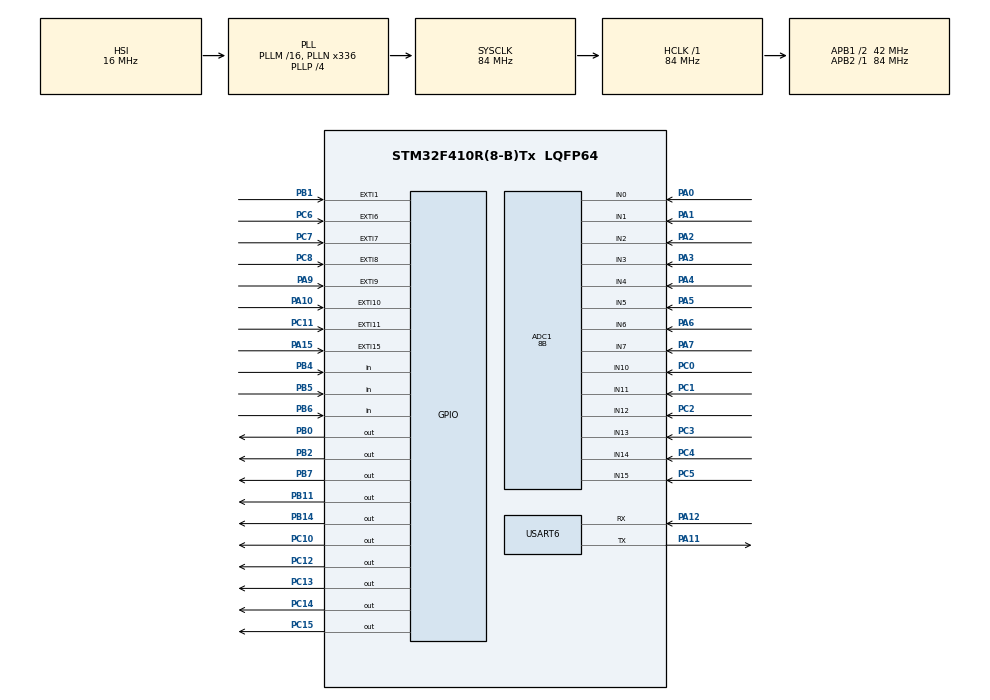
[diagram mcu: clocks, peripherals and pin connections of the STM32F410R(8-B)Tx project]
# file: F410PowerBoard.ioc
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ADC1.Channel-0\#ChannelRegularConversion=ADC_CHANNEL_0
ADC1.ContinuousConvMode=ENABLE
ADC1.NbrOfConversionFlag=1
ADC1.Rank-0\#ChannelRegularConversion=1
ADC1.Resolution=ADC_RESOLUTION_8B
ADC1.SamplingTime-0\#ChannelRegularConversion=ADC_SAMPLETIME_3CYCLES
ADC1.master=1
Mcu.Family=STM32F4
Mcu.Name=STM32F410R(8-B)Tx
Mcu.Package=LQFP64
NVIC.EXTI15_10_IRQn=true\:0\:0\:false\:false\:true\:true\:true\:true
NVIC.EXTI1_IRQn=true\:0\:0\:false\:false\:true\:true\:true\:true
NVIC.EXTI9_5_IRQn=true\:0\:0\:false\:false\:true\:true\:true\:true
NVIC.PriorityGroup=NVIC_PRIORITYGROUP_0
NVIC.USART6_IRQn=true\:0\:0\:false\:false\:true\:true\:true\:true
PA0-WKUP.Signal=ADCx_IN0
PA1.Signal=ADCx_IN1
PA10.GPIO_ModeDefaultEXTI=GPIO_MODE_IT_RISING_FALLING
PA10.Signal=GPXTI10
PA11.Mode=Asynchronous
PA11.Signal=USART6_TX
PA12.Mode=Asynchronous
PA12.Signal=USART6_RX
PA15.GPIO_ModeDefaultEXTI=GPIO_MODE_IT_RISING_FALLING
PA15.Signal=GPXTI15
PA2.Signal=ADCx_IN2
PA3.Signal=ADCx_IN3
PA4.Signal=ADCx_IN4
PA5.Signal=ADCx_IN5
PA6.Signal=ADCx_IN6
PA7.Signal=ADCx_IN7
PA9.GPIO_ModeDefaultEXTI=GPIO_MODE_IT_RISING_FALLING
PA9.Signal=GPXTI9
PB0.Signal=GPIO_Output
PB1.GPIO_ModeDefaultEXTI=GPIO_MODE_IT_RISING_FALLING
PB1.Signal=GPXTI1
PB11.Signal=GPIO_Output
PB14.Signal=GPIO_Output
PB2.Signal=GPIO_Output
PB3.GPIO_Label=SWO
PB3.Signal=SYS_JTDO-SWO
PB4.Signal=GPIO_Input
PB5.Signal=GPIO_Input
PB6.Signal=GPIO_Input
PB7.Signal=GPIO_Output
PC0.Signal=ADCx_IN10
PC1.Signal=ADCx_IN11
PC10.Signal=GPIO_Output
PC11.Signal=GPXTI11
PC12.Signal=GPIO_Output
PC13-ANTI_TAMP.Signal=GPIO_Output
PC14-OSC32_IN.Signal=GPIO_Output
PC15-OSC32_OUT.Signal=GPIO_Output
PC2.Signal=ADCx_IN12
PC3.Signal=ADCx_IN13
PC4.Signal=ADCx_IN14
PC5.Signal=ADCx_IN15
PC6.GPIO_ModeDefaultEXTI=GPIO_MODE_IT_RISING_FALLING
PC6.Signal=GPXTI6
PC7.GPIO_ModeDefaultEXTI=GPIO_MODE_IT_RISING_FALLING
PC7.Signal=GPXTI7
PC8.GPIO_ModeDefaultEXTI=GPIO_MODE_IT_RISING_FALLING
PC8.Signal=GPXTI8
PH0\ -\ OSC_IN.Mode=HSE-External-Clock-Source
PH0\ -\ OSC_IN.Signal=RCC_OSC_IN
PH1\ -\ OSC_OUT.Mode=HSE-External-Clock-Source
PH1\ -\ OSC_OUT.Signal=RCC_OSC_OUT
ProjectManager.HeapSize=0x200
ProjectManager.StackSize=0x400
ProjectManager.TargetToolchain=STM32CubeIDE
RCC.48MHZClocksFreq_Value=84000000
RCC.AHBFreq_Value=84000000
RCC.APB1CLKDivider=RCC_HCLK_DIV2
RCC.APB1Freq_Value=42000000
RCC.APB1TimFreq_Value=84000000
RCC.APB2Freq_Value=84000000
RCC.APB2TimFreq_Value=84000000
RCC.CortexFreq_Value=84000000
RCC.FLatency-AdvancedSettings=FLASH_LATENCY_2
RCC.HCLKFreq_Value=84000000
RCC.HSE_VALUE=8000000
RCC.HSI_VALUE=16000000
RCC.LSE_VALUE=32768
RCC.PLLN=336
RCC.PLLP=RCC_PLLP_DIV4
RCC.SYSCLKFreq_VALUE=84000000
RCC.SYSCLKSource=RCC_SYSCLKSOURCE_PLLCLK
RCC.VCOOutputFreq_Value=336000000
SH.ADCx_IN0.0=ADC1_IN0,IN0
SH.ADCx_IN1.0=ADC1_IN1,IN1
SH.ADCx_IN10.0=ADC1_IN10,IN10
SH.ADCx_IN11.0=ADC1_IN11,IN11
SH.ADCx_IN12.0=ADC1_IN12,IN12
SH.ADCx_IN13.0=ADC1_IN13,IN13
SH.ADCx_IN14.0=ADC1_IN14,IN14
SH.ADCx_IN15.0=ADC1_IN15,IN15
SH.ADCx_IN2.0=ADC1_IN2,IN2
SH.ADCx_IN3.0=ADC1_IN3,IN3
SH.ADCx_IN4.0=ADC1_IN4,IN4
SH.ADCx_IN5.0=ADC1_IN5,IN5
SH.ADCx_IN6.0=ADC1_IN6,IN6
SH.ADCx_IN7.0=ADC1_IN7,IN7
USART6.VirtualMode=VM_ASYNC
board=NUCLEO-F410RB

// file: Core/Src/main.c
/* USER CODE BEGIN Header */
/**
  ******************************************************************************
  * @file           : main.c
  * @brief          : Main program body
  ******************************************************************************
  * @attention
  *
  * Copyright (c) 2024 STMicroelectronics.
  * All rights reserved.
  *
  * This software is licensed under terms that can be found in the LICENSE file
  * in the root directory of this software component.
  * If no LICENSE file comes with this software, it is provided AS-IS.
  *
  ******************************************************************************
  */
/* USER CODE END Header */
#include "main.h"

/* USER CODE BEGIN Includes */
#include <string.h>
#include "powerboard_instr.h"
#include "pin_lib.h"
/* USER CODE END Includes */

/* USER CODE BEGIN PTD */
typedef uint8_t bool;

/* USER CODE END PTD */

ADC_HandleTypeDef hadc1;

UART_HandleTypeDef huart6;

/* USER CODE BEGIN PV */
//rx buffer variables
uint8_t rx_byte_buffer;
uint8_t circle_rx_buffer[RX_CIRCULAR_BUFFER_SIZE];
int head_rx = 0;
int tail_rx = 0;
int messages_in_rx = 0;

//tx buffer variables
uint16_t tx_word_buffer;
uint16_t circle_tx_bufferHigh[TX_CIRCULAR_BUFFER_SIZE];
uint16_t circle_tx_bufferLow[TX_CIRCULAR_BUFFER_SIZE];
int head_txH = 0;
int tail_txH = 0;
int head_txL = 0;
int tail_txL = 0;
int messages_in_txH = 0;
int messages_in_txL = 0;

/* USER CODE END PV */

void SystemClock_Config(void);
static void MX_GPIO_Init(void);
static void MX_USART6_UART_Init(void);
static void MX_ADC1_Init(void);
/* USER CODE BEGIN PFP */
void UART_TransmitData(uint16_t);
void UART_Print(uint8_t*);

int write_tx_buffer(uint16_t, int*, int, int);
int write_rx_buffer(uint8_t, int*, int);
int read_tx_buffer(uint16_t*, int, int*,int);
int read_rx_buffer(uint8_t*, int, int*);
void parse_rx(uint8_t);

/* USER CODE END PFP */

/* USER CODE BEGIN 0 */

/*UART Transmission functions----------------------------------
 * Param: uint16_t tx_buffer
 * Returns: void
 * Splits a 16 bit int into 2 bytes and transmits using HAL function
 *Uses blocking polling method which may need to change. Interrupt method was losing
 *the second byte of data
 * */

void UART_TransmitData(uint16_t tx_buffer){
	//char message[] = "hello world\r\n\0";
	uint8_t message[2];
	message[1] = (uint8_t) tx_buffer;
	message[0] = (uint8_t) (tx_buffer >> 8);
	HAL_UART_Transmit(&huart6, (uint8_t*)message, 2, 200);
}

/*Placeholder to verify receipt via UART.
 * Transmits 1 byte at a time
 * */
void UART_Print(uint8_t* message) {
	HAL_UART_Transmit(&huart6, (uint8_t*) message, 1, 100);
}
//------------------------------------------------------------

/*Read/Write buffer functions-----------------------------------------------
* Param: 8 bit binary val
* Returns 0 if buffer full, 1 if write successful
Writes received 8bit binary into circular buffer
Updates global circle buffer at [head] and increments head

*/
int write_tx_buffer(uint16_t val, int* head, int tail, int mode) {

	if ((*head + 1) % TX_CIRCULAR_BUFFER_SIZE == tail) {
		return 0;
	}

	if (mode == TXH_MODE){
		circle_tx_bufferHigh[*head] = val;
		messages_in_txH++;
	}else if (mode == TXL_MODE){
		circle_tx_bufferLow[*head] = val;
		messages_in_txL++;
	}else{
		//invalid buffer mode, make error handler
	}
	*head = (*head + 1) % TX_CIRCULAR_BUFFER_SIZE;
	return 1;
}

//Same method as write_tx_buffer but to different buffer
int write_rx_buffer(uint8_t val, int* head, int tail) {

	if ((*head + 1) % RX_CIRCULAR_BUFFER_SIZE == tail) {
		return 0;
	}

	circle_rx_buffer[*head] = val;
	messages_in_rx++;

	*head = (*head + 1) % RX_CIRCULAR_BUFFER_SIZE;
	return 1;
}
/* Reads from circle buffer,then clears at tail
 * Param: pointer to 8 bit val
 * Returns: 0 if buffer empty, 1 if read successful
 * Increments tail
 */
int read_tx_buffer(uint16_t* val, int head, int* tail, int mode) {
	if (*tail == head) {
		return 0;
	}
	if (mode == TXH_MODE){
		*val = circle_tx_bufferHigh[*tail];
	}else if (mode == TXL_MODE){
		*val = circle_tx_bufferLow[*tail];
	}else{
		//invalid buffer mode, make error handler
	}
	*tail = (*tail + 1) % TX_CIRCULAR_BUFFER_SIZE;
	return 1;
}

//Same as read_tx_buffer
int read_rx_buffer(uint8_t* val, int head, int* tail) {
	if (*tail == head) {
		return 0;
	}

	*val = circle_rx_buffer[*tail];

	*tail = (*tail + 1) % RX_CIRCULAR_BUFFER_SIZE;
	return 1;
}

//-----------------------------------------------------------------
/*Analyze rx input
 * Param: uint8_t received byte
 * Returns: void
 * Takes rx byte and maps to instruction from powerboard_inst.h
 * Performs said instruction for GPIO Write, Analog and GPIO read
 * */
void parse_rx(uint8_t current_data){
	//gpio outputs
	if (current_data == E_PARALLEL_0)
		e_parallel_off();
	else if (current_data == E_PARALLEL_1)
		e_parallel_on();
	else if (current_data == MICROPOWER_0)
		micropower_off();
	else if (current_data == MICROPOWER_1)
		micropower_on();
	else if (current_data == E_VBATT_0)
		e_vbatt_off();
	else if (current_data == E_VBATT_1)
		e_vbatt_on();
	else if (current_data == E_5V_0)
		e_5v_off();
	else if (current_data == E_5V_1)
		e_5v_on();
	else if (current_data == E_12V_0)
		e_12v_off();
	else if (current_data == E_12V_1)
		e_12v_on();
	else if (current_data == E_16V_0)
		e_16v_off();
	else if (current_data == E_16V_1)
		e_16v_on();
	else if (current_data == RED_0)
		led_red_on();
	else if (current_data == RED_1)
		led_red_off();
	else if (current_data == GREEN_0)
		led_green_off();
	else if (current_data == GREEN_1)
		led_green_on();
	else if (current_data == BLUE_0)
		led_blue_off();
	else if (current_data == BLUE_1)
		led_blue_on();

	//analog data requests ADC
	else if (current_data == R_BAT0_1)
		r_bat0_1();
	else if (current_data == R_BAT0_2)
		r_bat0_2();
	else if (current_data == R_BAT0_3)
		r_bat0_3();
	else if (current_data == R_BAT0_4)
		r_bat0_4();
	else if (current_data == R_BAT0_5)
		r_bat0_5();
	else if (current_data == R_BAT0_6)
		r_bat0_6();
	else if (current_data == R_BAT1_1)
		r_bat1_1();
	else if (current_data == R_BAT1_2)
		r_bat1_2();
	else if (current_data == R_BAT1_3)
		r_bat1_3();
	else if (current_data == R_BAT1_4)
		r_bat1_4();
	else if (current_data == R_BAT1_5)
		r_bat1_5();
	else if (current_data == R_BAT1_6)
		r_bat1_6();
	else if (current_data == R_EXT_PRES)
		r_ext_pres();
	else if (current_data == R_WATER_SENSE)
		r_water_sense();

	// gpio data
	else if (current_data == R_REED_DET)
		r_reed_det();
	else if (current_data == R_AUXREED1)
		r_auxreed1();
	else if (current_data == R_AUXREED2)
		r_auxreed2();
	else if (current_data == R_AUXREED3)
		r_auxreed3();
	else if (current_data == R_PARALLEL_E)
		r_parallel_e();
	else if (current_data == R_MICROPOWER)
		r_micropower();
	else if (current_data == R_VBATT_E)
		r_vbatt_e();
	else if (current_data == R_5V_E)
		r_5v_e();
	else if (current_data == R_12V_E)
		r_12v_e();
	else if (current_data == R_16V_E)
		r_16v_e();
	else if (current_data == R_RED)
		r_red();
	else if (current_data == R_GREEN)
		r_green();
	else if (current_data == R_BLUE)
		r_blue();
	else if (current_data == R_ALL_IO)
		r_all_io();
	else
		bad_rx_request();
}

/*
 * When receipt via UART is detected
 * Writes rx_byte_buffer into circular buffer
 * Restarts UART receive interrupt enable
 */
void HAL_UART_RxCpltCallback(UART_HandleTypeDef *huart)
{
	if (huart->Instance == USART6)
	    {
	    	if (write_rx_buffer(rx_byte_buffer, &head_rx, tail_rx)) {
	    		//UART_Print(&rx_byte_buffer);
	    	} else {
	    		rx_buffer_full();
	    	}
	    }
	HAL_UART_Receive_IT(&huart6, &rx_byte_buffer, 1);
}

//Shortcuts for write tx_buffer------------------------------------------------
void write_txL_buffer(uint16_t val){
	if(write_tx_buffer(val, &head_txL, tail_txL, TXL_MODE)){}
	else{
		txL_buffer_full();
	}
}
void write_txH_buffer(uint16_t val){
	write_tx_buffer(val, &head_txH, tail_txH, TXH_MODE);
}

//Gpio interrupts. Takes pin number writes corresponding message. /triggers on rise and fall for each alert
void HAL_GPIO_EXTI_Callback(uint16_t GPIO_Pin){
	if (GPIO_Pin == P_BATT0_CA){
		write_tx_buffer(CA_BAT0, &head_txH, tail_txH, TXH_MODE);
	}else if (GPIO_Pin == P_BATT1_CA){
		write_tx_buffer(CA_BAT1, &head_txH, tail_txH, TXH_MODE);
	}else if (GPIO_Pin == P_PARALLEL_CA){
		write_tx_buffer(CA_PARALLEL, &head_txH, tail_txH, TXH_MODE);
	}else if (GPIO_Pin == P_VBATT_CA){
		write_tx_buffer(CA_VBATT, &head_txH, tail_txH, TXH_MODE);
	}else if (GPIO_Pin == P_5V_CA){
		write_tx_buffer(CA_5V, &head_txH, tail_txH, TXH_MODE);
	}else if (GPIO_Pin == P_12V_CA){
		write_tx_buffer(CA_12V, &head_txH, tail_txH, TXH_MODE);
	}else if (GPIO_Pin == P_16V_CA){
		write_tx_buffer(CA_16V, &head_txH, tail_txH, TXH_MODE);
	}else if (GPIO_Pin == P_REEDSW_DET){
		reed_switch_flipped();
	}else{
		__NOP();
	}
}

//ADC Configurations------------------------------------------------------------
/*Param: uint16_t ADC CHannel - 0 is 0, 1 is 0x1, 2 is 0x2, 3 is 0x4 etc
 * Returns void
 * Selects which ADC channel to poll for results
 *
 * */
void adc_sel(uint16_t ADC_CHANNEL){
	ADC_ChannelConfTypeDef sConfig = {0};

	sConfig.Channel = ADC_CHANNEL;
	sConfig.Rank = 1;
	sConfig.SamplingTime = ADC_SAMPLETIME_15CYCLES;
	if (HAL_ADC_ConfigChannel(&hadc1, &sConfig) != HAL_OK)
	{
	  Error_Handler();
	}
}

//Resets ADC rank to 0 to avoid conflicting measurements- this may be causing problems
void adc_reset_conf(){
	ADC_ChannelConfTypeDef sConfig = {0};

		sConfig.Channel = ADC_CHANNEL_0;
		sConfig.Rank = 0;
		sConfig.SamplingTime = ADC_SAMPLETIME_15CYCLES;
		if (HAL_ADC_ConfigChannel(&hadc1, &sConfig) != HAL_OK)
		{
		  Error_Handler();
		}
}
//Returns a 32 bit right justified adc value
uint32_t adc_read(){
    HAL_ADC_Start(&hadc1);
    HAL_ADC_PollForConversion(&hadc1, 1);
    return HAL_ADC_GetValue(&hadc1);
}

/* USER CODE END 0 */

int main(void)
{

  /* MCU Configuration--------------------------------------------------------*/

  /* Reset of all peripherals, Initializes the Flash interface and the Systick. */
  HAL_Init();

  /* Configure the system clock */
  SystemClock_Config();

  /* Initialize all configured peripherals */
  MX_GPIO_Init();
  MX_USART6_UART_Init();
  MX_ADC1_Init();
  /* USER CODE BEGIN 2 */
  adc_reset_conf();
  uint8_t current_rx_data;// current rx and tx integers
  uint16_t current_txL_data;
  uint16_t current_txH_data;

  set_enables_init();
  set_cont_lights();
  HAL_UART_Receive_IT(&huart6, &rx_byte_buffer, 1); // begin UART interrupt receive

  /* USER CODE END 2 */

  /* Infinite loop */
  /* USER CODE BEGIN WHILE */
  while (1)
  {

	  	  /*
	  	   * All received bytes are read and removed from circular buffer into current data buffer
	  	   * terminated by \n\0 in current data
	  	   */
	  	  // High priority transmissions are completed first such as alerts, errors
	  	  while (messages_in_txH){
	  		  read_tx_buffer(&current_txH_data, head_txH, &tail_txH, TXH_MODE);
	  		  messages_in_txH--;
	  		  UART_TransmitData(current_txH_data);
	  	  }
	  	  /*If messages to receive or transmit, read and analyze or transmit*/
	  	  if (messages_in_rx) {
	  		  read_rx_buffer(&current_rx_data, head_rx, &tail_rx);
	  		  messages_in_rx--;
	  		  parse_rx(current_rx_data);
	  		  //UART_Print(&current_rx_data);
	  		  //HAL_GPIO_WritePin(GPIOA, GPIO_PIN_5, GPIO_PIN_SET);
	  	  }
	  	  if(messages_in_txL){
	  		  read_tx_buffer(&current_txL_data, head_txL, &tail_txL, TXL_MODE);
	  		  messages_in_txL--;
	  		  UART_TransmitData(current_txL_data);
	  	  }

    /* USER CODE END WHILE */

  }
}

void SystemClock_Config(void)
{
  RCC_OscInitTypeDef RCC_OscInitStruct = {0};
  RCC_ClkInitTypeDef RCC_ClkInitStruct = {0};

  /** Configure the main internal regulator output voltage
  */
  __HAL_RCC_PWR_CLK_ENABLE();
  __HAL_PWR_VOLTAGESCALING_CONFIG(PWR_REGULATOR_VOLTAGE_SCALE1);

  /** Initializes the RCC Oscillators according to the specified parameters
  * in the RCC_OscInitTypeDef structure.
  */
  RCC_OscInitStruct.OscillatorType = RCC_OSCILLATORTYPE_HSI;
  RCC_OscInitStruct.HSIState = RCC_HSI_ON;
  RCC_OscInitStruct.HSICalibrationValue = RCC_HSICALIBRATION_DEFAULT;
  RCC_OscInitStruct.PLL.PLLState = RCC_PLL_ON;
  RCC_OscInitStruct.PLL.PLLSource = RCC_PLLSOURCE_HSI;
  RCC_OscInitStruct.PLL.PLLM = 16;
  RCC_OscInitStruct.PLL.PLLN = 336;
  RCC_OscInitStruct.PLL.PLLP = RCC_PLLP_DIV4;
  RCC_OscInitStruct.PLL.PLLQ = 4;
  RCC_OscInitStruct.PLL.PLLR = 2;
  if (HAL_RCC_OscConfig(&RCC_OscInitStruct) != HAL_OK)
  {
    Error_Handler();
  }

  /** Initializes the CPU, AHB and APB buses clocks
  */
  RCC_ClkInitStruct.ClockType = RCC_CLOCKTYPE_HCLK|RCC_CLOCKTYPE_SYSCLK
                              |RCC_CLOCKTYPE_PCLK1|RCC_CLOCKTYPE_PCLK2;
  RCC_ClkInitStruct.SYSCLKSource = RCC_SYSCLKSOURCE_PLLCLK;
  RCC_ClkInitStruct.AHBCLKDivider = RCC_SYSCLK_DIV1;
  RCC_ClkInitStruct.APB1CLKDivider = RCC_HCLK_DIV2;
  RCC_ClkInitStruct.APB2CLKDivider = RCC_HCLK_DIV1;

  if (HAL_RCC_ClockConfig(&RCC_ClkInitStruct, FLASH_LATENCY_2) != HAL_OK)
  {
    Error_Handler();
  }
}

static void MX_ADC1_Init(void)
{

  ADC_ChannelConfTypeDef sConfig = {0};

  /** Configure the global features of the ADC (Clock, Resolution, Data Alignment and number of conversion)
  */
  hadc1.Instance = ADC1;
  hadc1.Init.ClockPrescaler = ADC_CLOCK_SYNC_PCLK_DIV4;
  hadc1.Init.Resolution = ADC_RESOLUTION_8B;
  hadc1.Init.ScanConvMode = DISABLE;
  hadc1.Init.ContinuousConvMode = ENABLE;
  hadc1.Init.DiscontinuousConvMode = DISABLE;
  hadc1.Init.ExternalTrigConvEdge = ADC_EXTERNALTRIGCONVEDGE_NONE;
  hadc1.Init.ExternalTrigConv = ADC_SOFTWARE_START;
  hadc1.Init.DataAlign = ADC_DATAALIGN_RIGHT;
  hadc1.Init.NbrOfConversion = 1;
  hadc1.Init.DMAContinuousRequests = DISABLE;
  hadc1.Init.EOCSelection = ADC_EOC_SINGLE_CONV;
  if (HAL_ADC_Init(&hadc1) != HAL_OK)
  {
    Error_Handler();
  }

  /** Configure for the selected ADC regular channel its corresponding rank in the sequencer and its sample time.
  */
  sConfig.Channel = ADC_CHANNEL_0;
  sConfig.Rank = 1;
  sConfig.SamplingTime = ADC_SAMPLETIME_3CYCLES;
  if (HAL_ADC_ConfigChannel(&hadc1, &sConfig) != HAL_OK)
  {
    Error_Handler();
  }

}

static void MX_USART6_UART_Init(void)
{

  huart6.Instance = USART6;
  huart6.Init.BaudRate = 115200;
  huart6.Init.WordLength = UART_WORDLENGTH_8B;
  huart6.Init.StopBits = UART_STOPBITS_1;
  huart6.Init.Parity = UART_PARITY_NONE;
  huart6.Init.Mode = UART_MODE_TX_RX;
  huart6.Init.HwFlowCtl = UART_HWCONTROL_NONE;
  huart6.Init.OverSampling = UART_OVERSAMPLING_16;
  if (HAL_UART_Init(&huart6) != HAL_OK)
  {
    Error_Handler();
  }
  /* USER CODE BEGIN USART6_Init 2 */
  HAL_NVIC_SetPriority(USART6_IRQn, 0, 0); //Enable UART Interrupts
  HAL_NVIC_EnableIRQ(USART6_IRQn);
  /* USER CODE END USART6_Init 2 */

}

static void MX_GPIO_Init(void)
{
  GPIO_InitTypeDef GPIO_InitStruct = {0};

  /* GPIO Ports Clock Enable */
  __HAL_RCC_GPIOC_CLK_ENABLE();
  __HAL_RCC_GPIOH_CLK_ENABLE();
  __HAL_RCC_GPIOA_CLK_ENABLE();
  __HAL_RCC_GPIOB_CLK_ENABLE();

  /*Configure GPIO pin Output Level */
  HAL_GPIO_WritePin(GPIOC, GPIO_PIN_13|GPIO_PIN_14|GPIO_PIN_15|GPIO_PIN_10
                          |GPIO_PIN_12, GPIO_PIN_RESET);

  /*Configure GPIO pin Output Level */
  HAL_GPIO_WritePin(GPIOB, GPIO_PIN_0|GPIO_PIN_2|GPIO_PIN_14|GPIO_PIN_11
                          |GPIO_PIN_7, GPIO_PIN_RESET);

  /*Configure GPIO pins : PC13 PC14 PC15 PC10
                           PC12 */
  GPIO_InitStruct.Pin = GPIO_PIN_13|GPIO_PIN_14|GPIO_PIN_15|GPIO_PIN_10
                          |GPIO_PIN_12;
  GPIO_InitStruct.Mode = GPIO_MODE_OUTPUT_PP;
  GPIO_InitStruct.Pull = GPIO_NOPULL;
  GPIO_InitStruct.Speed = GPIO_SPEED_FREQ_LOW;
  HAL_GPIO_Init(GPIOC, &GPIO_InitStruct);

  /*Configure GPIO pins : PB0 PB2 PB14 PB11
                           PB7 */
  GPIO_InitStruct.Pin = GPIO_PIN_0|GPIO_PIN_2|GPIO_PIN_14|GPIO_PIN_11
                          |GPIO_PIN_7;
  GPIO_InitStruct.Mode = GPIO_MODE_OUTPUT_PP;
  GPIO_InitStruct.Pull = GPIO_NOPULL;
  GPIO_InitStruct.Speed = GPIO_SPEED_FREQ_LOW;
  HAL_GPIO_Init(GPIOB, &GPIO_InitStruct);

  /*Configure GPIO pin : PB1 */
  GPIO_InitStruct.Pin = GPIO_PIN_1;
  GPIO_InitStruct.Mode = GPIO_MODE_IT_RISING_FALLING;
  GPIO_InitStruct.Pull = GPIO_NOPULL;
  HAL_GPIO_Init(GPIOB, &GPIO_InitStruct);

  /*Configure GPIO pins : PC6 PC7 PC8 */
  GPIO_InitStruct.Pin = GPIO_PIN_6|GPIO_PIN_7|GPIO_PIN_8;
  GPIO_InitStruct.Mode = GPIO_MODE_IT_RISING_FALLING;
  GPIO_InitStruct.Pull = GPIO_NOPULL;
  HAL_GPIO_Init(GPIOC, &GPIO_InitStruct);

  /*Configure GPIO pins : PA9 PA10 PA15 */
  GPIO_InitStruct.Pin = GPIO_PIN_9|GPIO_PIN_10|GPIO_PIN_15;
  GPIO_InitStruct.Mode = GPIO_MODE_IT_RISING_FALLING;
  GPIO_InitStruct.Pull = GPIO_NOPULL;
  HAL_GPIO_Init(GPIOA, &GPIO_InitStruct);

  /*Configure GPIO pin : PC11 */
  GPIO_InitStruct.Pin = GPIO_PIN_11;
  GPIO_InitStruct.Mode = GPIO_MODE_IT_RISING_FALLING;
  GPIO_InitStruct.Pull = GPIO_NOPULL;
  HAL_GPIO_Init(GPIOC, &GPIO_InitStruct);

  /*Configure GPIO pins : PB4 PB5 PB6 */
  GPIO_InitStruct.Pin = GPIO_PIN_4|GPIO_PIN_5|GPIO_PIN_6;
  GPIO_InitStruct.Mode = GPIO_MODE_INPUT;
  GPIO_InitStruct.Pull = GPIO_NOPULL;
  HAL_GPIO_Init(GPIOB, &GPIO_InitStruct);

  /* EXTI interrupt init*/
  HAL_NVIC_SetPriority(EXTI1_IRQn, 0, 0);
  HAL_NVIC_EnableIRQ(EXTI1_IRQn);

  HAL_NVIC_SetPriority(EXTI9_5_IRQn, 0, 0);
  HAL_NVIC_EnableIRQ(EXTI9_5_IRQn);

  HAL_NVIC_SetPriority(EXTI15_10_IRQn, 0, 0);
  HAL_NVIC_EnableIRQ(EXTI15_10_IRQn);

}

void Error_Handler(void)
{
  __disable_irq();
  while (1)
  {
  }
}
